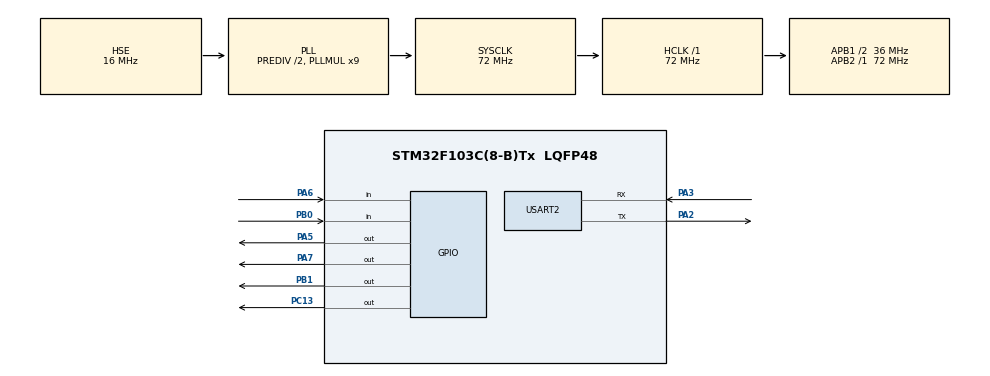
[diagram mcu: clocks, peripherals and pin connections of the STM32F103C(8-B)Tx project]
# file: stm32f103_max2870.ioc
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Mcu.Family=STM32F1
Mcu.Name=STM32F103C(8-B)Tx
Mcu.Package=LQFP48
NVIC.PriorityGroup=NVIC_PRIORITYGROUP_4
NVIC.TIM2_IRQn=true\:0\:0\:false\:false\:true\:true\:true\:true
NVIC.USART2_IRQn=true\:0\:0\:false\:false\:true\:true\:true\:true
PA13.Mode=Serial_Wire
PA13.Signal=SYS_JTMS-SWDIO
PA14.Mode=Serial_Wire
PA14.Signal=SYS_JTCK-SWCLK
PA2.Mode=Asynchronous
PA2.Signal=USART2_TX
PA3.Mode=Asynchronous
PA3.Signal=USART2_RX
PA5.Signal=GPIO_Output
PA6.Signal=GPIO_Input
PA7.Signal=GPIO_Output
PB0.Signal=GPIO_Input
PB1.PinState=GPIO_PIN_RESET
PB1.Signal=GPIO_Output
PC13-TAMPER-RTC.Signal=GPIO_Output
PD0-OSC_IN.Mode=HSE-External-Oscillator
PD0-OSC_IN.Signal=RCC_OSC_IN
PD1-OSC_OUT.Mode=HSE-External-Oscillator
PD1-OSC_OUT.Signal=RCC_OSC_OUT
ProjectManager.HeapSize=0x200
ProjectManager.StackSize=0x400
ProjectManager.TargetToolchain=STM32CubeIDE
RCC.AHBFreq_Value=72000000
RCC.APB1CLKDivider=RCC_HCLK_DIV2
RCC.APB1Freq_Value=36000000
RCC.APB1TimFreq_Value=72000000
RCC.APB2Freq_Value=72000000
RCC.APB2TimFreq_Value=72000000
RCC.HCLKFreq_Value=72000000
RCC.HSEDivPLL=RCC_HSE_PREDIV_DIV2
RCC.HSE_VALUE=16000000
RCC.PLLMUL=RCC_PLL_MUL9
RCC.PLLSourceVirtual=RCC_PLLSOURCE_HSE
RCC.SYSCLKFreq_VALUE=72000000
RCC.SYSCLKSource=RCC_SYSCLKSOURCE_PLLCLK
RCC.USBFreq_Value=72000000
TIM2.Period=5
TIM2.Prescaler=35
USART2.VirtualMode=VM_ASYNC
VP_TIM2_VS_ClockSourceINT.Mode=Internal
board=custom

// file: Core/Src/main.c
/* USER CODE BEGIN Header */
/**
  ******************************************************************************
  * @file           : main.c
  * @brief          : Main program body
  ******************************************************************************
  * @attention
  *
  * Copyright (c) 2026 STMicroelectronics.
  * All rights reserved.
  *
  * This software is licensed under terms that can be found in the LICENSE file
  * in the root directory of this software component.
  * If no LICENSE file comes with this software, it is provided AS-IS.
  *
  ******************************************************************************
  */
/* USER CODE END Header */
#include "main.h"
#include "tim.h"
#include "usart.h"
#include "gpio.h"

/* USER CODE BEGIN Includes */
#include "max2870.h"
#include <stdio.h>
/* USER CODE END Includes */

/* USER CODE BEGIN PV */
uint32_t cur_tick = 0;
uint32_t tmp_tick = 0;

uint8_t tmp[64];
/* USER CODE END PV */

void SystemClock_Config(void);

/* USER CODE BEGIN 0 */
#define FROMCHAR(c) (c > 57 ? c - 87 : c - 48)

uint16_t to_int(uint8_t* tmp, uint8_t base)
{
  uint16_t ret = 0;
  ret  = FROMCHAR(tmp[0]) * base * base * base;
  ret += FROMCHAR(tmp[1]) * base * base;
  ret += FROMCHAR(tmp[2]) * base;
  ret += FROMCHAR(tmp[3]) ;
  return ret;
}
/* USER CODE END 0 */

int main(void)
{

  /* MCU Configuration--------------------------------------------------------*/

  /* Reset of all peripherals, Initializes the Flash interface and the Systick. */
  HAL_Init();

  /* Configure the system clock */
  SystemClock_Config();

  /* Initialize all configured peripherals */
  MX_GPIO_Init();
  MX_TIM2_Init();
  MX_USART2_UART_Init();
  /* USER CODE BEGIN 2 */

  uint8_t hallo[] = "\n\rHallo!\n\r";
  HAL_UART_Transmit(&huart2, hallo, sizeof(hallo), HAL_MAX_DELAY);

  max2870_init(MAX2870_PFD);
  max2870_dump();

  HAL_UART_Receive_IT(&huart2, &rx_data, 1);

  //max2870_init();
  //max2870_power_on(1);
  //max2870_set_pfd(32, 2);
  //max2870_set_rf_out_a(1200.0);
  /* USER CODE END 2 */

  /* Infinite loop */
  while (1)
  {

    /* USER CODE BEGIN 3 */

	if (answ_ready == 1)
	{
		//HAL_UART_Transmit(&huart2, rx_buff, rx_cnt, HAL_MAX_DELAY);
		if (rx_cnt == 2)
		{
			if ((rx_buff[0] == 'r')||(rx_buff[0] == 'R'))
			{
				sprintf(tmp,"reset:0\n\r");
				HAL_UART_Transmit(&huart2, tmp, 9, HAL_MAX_DELAY);

				max2870_init(MAX2870_PFD);
				//max2870_dump();

			}
			else if ((rx_buff[0] == 'o')||(rx_buff[0] == 'O'))
			{
				sprintf(tmp,"out off:0\n\r");
				HAL_UART_Transmit(&huart2, tmp, 11, HAL_MAX_DELAY);
				//max2870_power_on(0);
				//max2870_outA(3);
				max2870_outA(0);
				max2870_write_data(0);
			}
			else
			{
				HAL_UART_Transmit(&huart2, "E02\n\r", 5, HAL_MAX_DELAY);
			}
		}
		else if (rx_cnt == 3)
		{
			if ((rx_buff[0] == 'p')||(rx_buff[0] == 'p'))
			{
				if (rx_buff[1] == '0')
				{
					sprintf(tmp,"power:0\n\r");
					HAL_UART_Transmit(&huart2, tmp, 9, HAL_MAX_DELAY);
					max2870_power(0);
					max2870_write_data(0);
				}
				else
				{
					sprintf(tmp,"power:1\n\r");
					HAL_UART_Transmit(&huart2, tmp, 9, HAL_MAX_DELAY);
					max2870_power(1);
					max2870_write_data(0);
				}
			}
			else
			{
				HAL_UART_Transmit(&huart2, "E02\n\r", 5, HAL_MAX_DELAY);
			}
		}
		else if (rx_cnt == 6)
		{
			if ((rx_buff[0] == 'f')||(rx_buff[0] == 'F'))
			{
				//rx_buff[rx_cnt-1] = '\n';
				//rx_buff[rx_cnt] = '\r';
				//HAL_UART_Transmit(&huart2, &rx_buff[1], rx_cnt+1, HAL_MAX_DELAY);
				int freq = to_int(&rx_buff[1], 10);
				double fres = max2870_set_rf_out_a((float)freq);
				sprintf(tmp,"freq:%04d\n\r", (int)fres);
				HAL_UART_Transmit(&huart2, tmp, 11, HAL_MAX_DELAY);
				max2870_outA(1);
				max2870_write_data(0);
				//max2870_dump();
			}
			else
			{
				HAL_UART_Transmit(&huart2, "E02\n\r", 5, HAL_MAX_DELAY);
			}
		}
		else
		{
			HAL_UART_Transmit(&huart2, "E01\n\r", 5, HAL_MAX_DELAY);
		}
		answ_ready = 0;
		rx_cnt = 0;
	}

	cur_tick = HAL_GetTick();
	if (cur_tick - tmp_tick >= 200){
	  tmp_tick = cur_tick;

	  HAL_GPIO_TogglePin(LED_PORT, LED_PIN);  //toggle green led

	}

  }
  /* USER CODE END 3 */
}

void SystemClock_Config(void)
{
  RCC_OscInitTypeDef RCC_OscInitStruct = {0};
  RCC_ClkInitTypeDef RCC_ClkInitStruct = {0};

  /** Initializes the RCC Oscillators according to the specified parameters
  * in the RCC_OscInitTypeDef structure.
  */
  RCC_OscInitStruct.OscillatorType = RCC_OSCILLATORTYPE_HSE;
  RCC_OscInitStruct.HSEState = RCC_HSE_ON;
  RCC_OscInitStruct.HSEPredivValue = RCC_HSE_PREDIV_DIV2;
  RCC_OscInitStruct.HSIState = RCC_HSI_ON;
  RCC_OscInitStruct.PLL.PLLState = RCC_PLL_ON;
  RCC_OscInitStruct.PLL.PLLSource = RCC_PLLSOURCE_HSE;
  RCC_OscInitStruct.PLL.PLLMUL = RCC_PLL_MUL9;
  if (HAL_RCC_OscConfig(&RCC_OscInitStruct) != HAL_OK)
  {
    Error_Handler();
  }

  /** Initializes the CPU, AHB and APB buses clocks
  */
  RCC_ClkInitStruct.ClockType = RCC_CLOCKTYPE_HCLK|RCC_CLOCKTYPE_SYSCLK
                              |RCC_CLOCKTYPE_PCLK1|RCC_CLOCKTYPE_PCLK2;
  RCC_ClkInitStruct.SYSCLKSource = RCC_SYSCLKSOURCE_PLLCLK;
  RCC_ClkInitStruct.AHBCLKDivider = RCC_SYSCLK_DIV1;
  RCC_ClkInitStruct.APB1CLKDivider = RCC_HCLK_DIV2;
  RCC_ClkInitStruct.APB2CLKDivider = RCC_HCLK_DIV1;

  if (HAL_RCC_ClockConfig(&RCC_ClkInitStruct, FLASH_LATENCY_2) != HAL_OK)
  {
    Error_Handler();
  }
}

void Error_Handler(void)
{
  __disable_irq();
  while (1)
  {
  }
}
